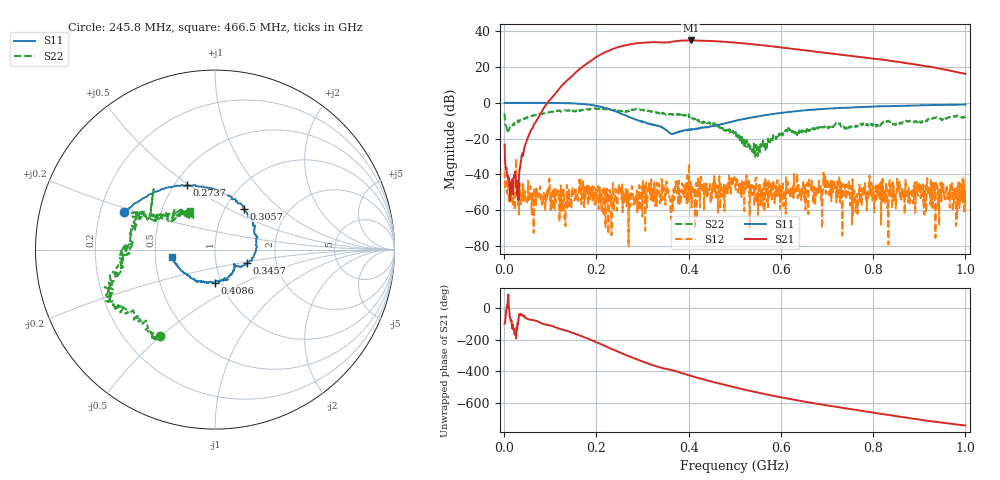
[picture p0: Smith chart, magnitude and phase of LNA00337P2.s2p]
! Created with skrf 1.9.0 (http://scikit-rf.org).
# Hz S RI R 50.0
!freq ReS11 ImS11 ReS21 ImS21 ReS12 ImS12 ReS22 ImS22
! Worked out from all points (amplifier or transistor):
!   1001 points, 1 MHz to 1 GHz, reference 50 ohm
!   highest |S21| = 34.9 dB at 404.6 MHz (marker M1)
!   |S21| within 3 dB of that: 257.7 MHz to 570.9 MHz (313.2 MHz wide, 75.6 % of centre)
!   unconditionally stable (mu >= 1): start of sweep to 89.9 MHz; 318.7 MHz to 400.3 MHz; 401 MHz to end of sweep (the widest 3 of 35)
!   at 166.8 MHz: K = 1.68, MAG = 32.1 dB, |S12| = -54.3 dB
!   at 500.5 MHz: K = 1.63, MAG = 34.3 dB, |S12| = -44.1 dB
!   at 1 GHz: K = 12.35, MAG = 24.1 dB, |S12| = -59.8 dB
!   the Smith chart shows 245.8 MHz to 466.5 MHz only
!   S11 on the Smith chart (normalised r, x): 245.8 MHz: 0.30, +0.18; 273.7 MHz: 0.58, +0.49; 305.7 MHz: 1.21, +0.60; 345.7 MHz: 1.41, -0.22; 408.6 MHz: 0.93, -0.36; 466.5 MHz: 0.61, -0.05
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1000000  0.9825 0.000247  -0.0098 -0.0673  -0.0124 -0.000546  0.3544 0.3637
1.08892e8  0.5102 -0.854  -0.783 -1.498  0.000152 -0.000936  0.4304 -0.369
1.67833e8  -0.2513 -0.8929  -9.738 -0.5979  0.000161 -0.00144  0.0319 -0.6298
2.1079e8  -0.6895 -0.3406  -15.31 17.17  0.00011 0.00103  -0.215 -0.6589
2.27773e8  -0.6626 -0.0511  -9.546 27.52  0.00189 -0.0025  -0.2645 -0.5815
2.45755e8  -0.5062 0.2103  2.114 35.65  -0.000488 0.00124  -0.3042 -0.4839
2.73727e8  -0.1545 0.3586  26.82 34.19  -0.000624 0.00108  -0.5276 -0.3508
3.05695e8  0.1588 0.228  46.23 13.85  -0.000196 0.000173  -0.5668 -0.2062
3.34666e8  0.2285 -0.0091  48.45 -10.11  -0.00227 0.00232  -0.5252 -0.0472
3.45655e8  0.1772 -0.075  45.64 -16.98  -0.00265 -0.00153  -0.4995 0.0323
3.73627e8  0.1094 -0.0986  41.04 -34.49  0.000444 0.00343  -0.4373 0.1751
4.04596e8  0.0239 -0.1829  20.76 -51.56  -0.000684 0.00664  -0.3185 0.193
4.08592e8  0.000252 -0.1855  17.66 -52.55  0.00118 0.00471  -0.3198 0.1873
4.36564e8  -0.137 -0.1575  -3.952 -54.17  0.0024 0.00296  -0.1925 0.2018
4.66534e8  -0.2423 -0.0413  -23.63 -46.14  0.00656 0.00594  -0.1389 0.2171
5.005e8  -0.2733 0.144  -37.96 -30.3  0.00467 -0.00416  -0.0855 0.1016
5.4046e8  -0.1925 0.3447  -42.2 -9.057  0.00397 -0.00182  -0.0308 0.0242
5.88412e8  0.0172 0.498  -35.33 11.09  0.000664 -0.00239  -0.0767 -0.0685
6.67333e8  0.3989 0.5  -14.03 23.78  0.00531 -0.00386  -0.1743 -0.0781
7.53247e8  0.6858 0.2815  3.446 20.1  0.000917 -0.00382  -0.2172 -0.0282
8.34166e8  0.8037 0.00955  10.97 10.61  -0.00528 -0.00119  -0.3019 -0.0659
1e9  0.7228 -0.5303  5.976 -2.436  -0.000874 -0.000529  -0.3824 0.1179
